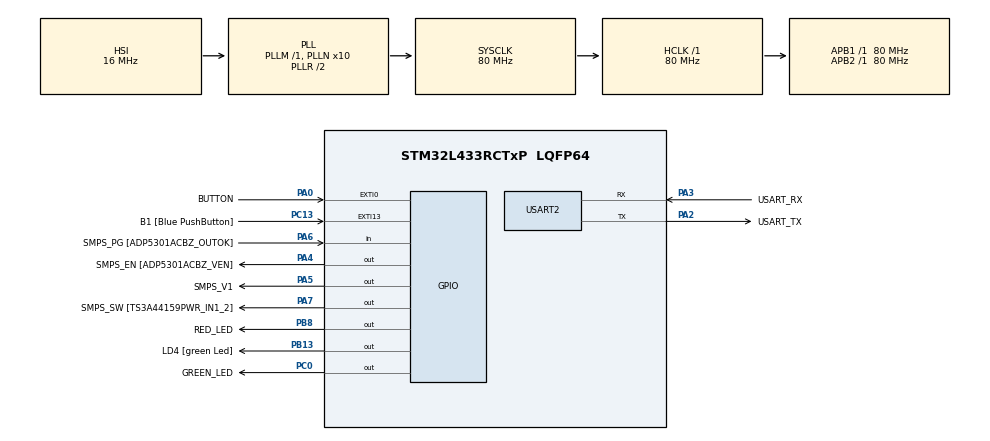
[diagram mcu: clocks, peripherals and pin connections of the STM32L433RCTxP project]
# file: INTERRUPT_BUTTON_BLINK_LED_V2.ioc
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Mcu.Family=STM32L4
Mcu.Name=STM32L433RCTxP
Mcu.Package=LQFP64
NVIC.EXTI0_IRQn=true\:0\:0\:false\:false\:true\:true\:true\:true
NVIC.PriorityGroup=NVIC_PRIORITYGROUP_4
NVIC.TIM6_DAC_IRQn=true\:0\:0\:false\:false\:true\:true\:true\:true
PA0.GPIO_Label=BUTTON
PA0.GPIO_ModeDefaultEXTI=GPIO_MODE_IT_FALLING
PA0.GPIO_PuPd=GPIO_PULLUP
PA0.Signal=GPXTI0
PA13\ (JTMS-SWDIO).GPIO_Label=TMS
PA13\ (JTMS-SWDIO).Mode=Serial_Wire
PA13\ (JTMS-SWDIO).Signal=SYS_JTMS-SWDIO
PA14\ (JTCK-SWCLK).GPIO_Label=TCK
PA14\ (JTCK-SWCLK).Mode=Serial_Wire
PA14\ (JTCK-SWCLK).Signal=SYS_JTCK-SWCLK
PA2.GPIO_Label=USART_TX
PA2.GPIO_Mode=GPIO_MODE_AF_PP
PA2.GPIO_PuPd=GPIO_NOPULL
PA2.GPIO_Speed=GPIO_SPEED_FREQ_VERY_HIGH
PA2.Mode=Asynchronous
PA2.Signal=USART2_TX
PA3.GPIO_Label=USART_RX
PA3.GPIO_Mode=GPIO_MODE_AF_PP
PA3.GPIO_PuPd=GPIO_NOPULL
PA3.GPIO_Speed=GPIO_SPEED_FREQ_VERY_HIGH
PA3.Mode=Asynchronous
PA3.Signal=USART2_RX
PA4.GPIO_Label=SMPS_EN [ADP5301ACBZ_VEN]
PA4.Signal=GPIO_Output
PA5.GPIO_Label=SMPS_V1
PA5.GPIO_ModeDefaultOutputPP=GPIO_MODE_OUTPUT_PP
PA5.GPIO_PuPd=GPIO_NOPULL
PA5.GPIO_Speed=GPIO_SPEED_FREQ_LOW
PA5.Signal=GPIO_Output
PA6.GPIO_Label=SMPS_PG [ADP5301ACBZ_OUTOK]
PA6.GPIO_PuPd=GPIO_PULLUP
PA6.Signal=GPIO_Input
PA7.GPIO_Label=SMPS_SW [TS3A44159PWR_IN1_2]
PA7.Signal=GPIO_Output
PB13.GPIO_Label=LD4 [green Led]
PB13.Signal=GPIO_Output
PB3\ (JTDO-TRACESWO).GPIO_Label=SWO
PB3\ (JTDO-TRACESWO).Signal=SYS_JTDO-SWO
PB8.GPIO_Label=RED_LED
PB8.Signal=GPIO_Output
PC0.GPIO_Label=GREEN_LED
PC0.Signal=GPIO_Output
PC13.GPIO_Label=B1 [Blue PushButton]
PC13.GPIO_ModeDefaultEXTI=GPIO_MODE_IT_FALLING
PC13.GPIO_PuPd=GPIO_NOPULL
PC13.Signal=GPXTI13
PC14-OSC32_IN\ (PC14).Mode=LSE-External-Oscillator
PC14-OSC32_IN\ (PC14).Signal=RCC_OSC32_IN
PC15-OSC32_OUT\ (PC15).Mode=LSE-External-Oscillator
PC15-OSC32_OUT\ (PC15).Signal=RCC_OSC32_OUT
PH0-OSC_IN\ (PH0).GPIO_Label=MCO
PH0-OSC_IN\ (PH0).Mode=HSE-External-Clock-Source
PH0-OSC_IN\ (PH0).Signal=RCC_OSC_IN
PH1-OSC_OUT\ (PH1).Signal=RCC_OSC_OUT
ProjectManager.HeapSize=0x200
ProjectManager.StackSize=0x400
ProjectManager.TargetToolchain=EWARM V8.32
RCC.ADCFreq_Value=64000000
RCC.AHBFreq_Value=80000000
RCC.APB1Freq_Value=80000000
RCC.APB1TimFreq_Value=80000000
RCC.APB2Freq_Value=80000000
RCC.APB2TimFreq_Value=80000000
RCC.CortexFreq_Value=80000000
RCC.HCLKFreq_Value=80000000
RCC.HSE_VALUE=8000000
RCC.HSI48_VALUE=48000000
RCC.HSI_VALUE=16000000
RCC.MSI_VALUE=4000000
RCC.PLLN=10
RCC.PLLSourceVirtual=RCC_PLLSOURCE_HSI
RCC.PREFETCH_ENABLE=1
RCC.SYSCLKFreq_VALUE=80000000
RCC.SYSCLKSource=RCC_SYSCLKSOURCE_PLLCLK
RCC.USBFreq_Value=64000000
RCC.VCOOutputFreq_Value=160000000
TIM6.Period=10000 - 1
TIM6.Prescaler=8000 - 1
TIM6.TIM_MasterOutputTrigger=TIM_TRGO_UPDATE
USART2.VirtualMode-Asynchronous=VM_ASYNC
VP_TIM6_VS_ClockSourceINT.Mode=Enable_Timer
board=NUCLEO-L433RC-P

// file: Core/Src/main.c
/* USER CODE BEGIN Header */
/**
  ******************************************************************************
  * @file           : main.c
  * @brief          : Main program body
  ******************************************************************************
  * @attention
  *
  * Copyright (c) 2023 STMicroelectronics.
  * All rights reserved.
  *
  * This software is licensed under terms that can be found in the LICENSE file
  * in the root directory of this software component.
  * If no LICENSE file comes with this software, it is provided AS-IS.
  *
  ******************************************************************************
  */
/* USER CODE END Header */
#include "main.h"

/* USER CODE BEGIN Includes */

#include "led_controls.h"

/* USER CODE END Includes */

TIM_HandleTypeDef htim6;

UART_HandleTypeDef huart2;

/* USER CODE BEGIN PV */

//We always start from idling at off state
volatile PROGRAM_STATE CurState = IDLE_OFF;

/* USER CODE END PV */

void SystemClock_Config(void);
static void MX_GPIO_Init(void);
static void MX_USART2_UART_Init(void);
static void MX_TIM6_Init(void);

int main(void)
{

  /* MCU Configuration--------------------------------------------------------*/

  /* Reset of all peripherals, Initializes the Flash interface and the Systick. */
  HAL_Init();

  /* Configure the system clock */
  SystemClock_Config();

  /* Initialize all configured peripherals */
  MX_GPIO_Init();
  MX_USART2_UART_Init();
  MX_TIM6_Init();

  /* Infinite loop */
  /* USER CODE BEGIN WHILE */
  while (1)
  {
    if (CurState == IDLE_ON || CurState == IDLE_OFF)    //We are idling. Nothing to do
      continue;
    /*
      We are disabling interrupts as they might cause problems later
    */
    HAL_NVIC_DisableIRQ(EXTI0_IRQn);    //Disables button interrupt
    HAL_NVIC_DisableIRQ(TIM6_DAC_IRQn); //Disables timer interrupt
    if (CurState == ON || CurState == OFF)
    {
      led_reinit(CurState);
      StartStopTimer(CurState, &htim6);
      if (CurState == ON)       //Blinking is on. We now idle until state changes
        CurState = IDLE_ON;
      else
        CurState = IDLE_OFF;    //Blinking is off. We now idle until state changes
    }
    else if (CurState == TOGGLE)
    {
      toggle_led();
      CurState = IDLE_ON;       //Toggled. We now idle until state changes
    }
    HAL_NVIC_EnableIRQ(EXTI0_IRQn);     //Enables button interrupt
    HAL_NVIC_EnableIRQ(TIM6_DAC_IRQn);  //Enables timer interrupt
    /* USER CODE END WHILE */

  }
}

void SystemClock_Config(void)
{
  RCC_OscInitTypeDef RCC_OscInitStruct = {0};
  RCC_ClkInitTypeDef RCC_ClkInitStruct = {0};

  /** Configure the main internal regulator output voltage
  */
  if (HAL_PWREx_ControlVoltageScaling(PWR_REGULATOR_VOLTAGE_SCALE1) != HAL_OK)
  {
    Error_Handler();
  }

  /** Initializes the RCC Oscillators according to the specified parameters
  * in the RCC_OscInitTypeDef structure.
  */
  RCC_OscInitStruct.OscillatorType = RCC_OSCILLATORTYPE_HSI;
  RCC_OscInitStruct.HSIState = RCC_HSI_ON;
  RCC_OscInitStruct.HSICalibrationValue = RCC_HSICALIBRATION_DEFAULT;
  RCC_OscInitStruct.PLL.PLLState = RCC_PLL_ON;
  RCC_OscInitStruct.PLL.PLLSource = RCC_PLLSOURCE_HSI;
  RCC_OscInitStruct.PLL.PLLM = 1;
  RCC_OscInitStruct.PLL.PLLN = 10;
  RCC_OscInitStruct.PLL.PLLP = RCC_PLLP_DIV7;
  RCC_OscInitStruct.PLL.PLLQ = RCC_PLLQ_DIV2;
  RCC_OscInitStruct.PLL.PLLR = RCC_PLLR_DIV2;
  if (HAL_RCC_OscConfig(&RCC_OscInitStruct) != HAL_OK)
  {
    Error_Handler();
  }

  /** Initializes the CPU, AHB and APB buses clocks
  */
  RCC_ClkInitStruct.ClockType = RCC_CLOCKTYPE_HCLK|RCC_CLOCKTYPE_SYSCLK
                              |RCC_CLOCKTYPE_PCLK1|RCC_CLOCKTYPE_PCLK2;
  RCC_ClkInitStruct.SYSCLKSource = RCC_SYSCLKSOURCE_PLLCLK;
  RCC_ClkInitStruct.AHBCLKDivider = RCC_SYSCLK_DIV1;
  RCC_ClkInitStruct.APB1CLKDivider = RCC_HCLK_DIV1;
  RCC_ClkInitStruct.APB2CLKDivider = RCC_HCLK_DIV1;

  if (HAL_RCC_ClockConfig(&RCC_ClkInitStruct, FLASH_LATENCY_4) != HAL_OK)
  {
    Error_Handler();
  }
}

static void MX_TIM6_Init(void)
{

  TIM_MasterConfigTypeDef sMasterConfig = {0};

  htim6.Instance = TIM6;
  htim6.Init.Prescaler = 8000 - 1;
  htim6.Init.CounterMode = TIM_COUNTERMODE_UP;
  htim6.Init.Period = 10000 - 1;
  htim6.Init.AutoReloadPreload = TIM_AUTORELOAD_PRELOAD_DISABLE;
  if (HAL_TIM_Base_Init(&htim6) != HAL_OK)
  {
    Error_Handler();
  }
  sMasterConfig.MasterOutputTrigger = TIM_TRGO_UPDATE;
  sMasterConfig.MasterSlaveMode = TIM_MASTERSLAVEMODE_DISABLE;
  if (HAL_TIMEx_MasterConfigSynchronization(&htim6, &sMasterConfig) != HAL_OK)
  {
    Error_Handler();
  }

}

static void MX_USART2_UART_Init(void)
{

  huart2.Instance = USART2;
  huart2.Init.BaudRate = 115200;
  huart2.Init.WordLength = UART_WORDLENGTH_8B;
  huart2.Init.StopBits = UART_STOPBITS_1;
  huart2.Init.Parity = UART_PARITY_NONE;
  huart2.Init.Mode = UART_MODE_TX_RX;
  huart2.Init.HwFlowCtl = UART_HWCONTROL_NONE;
  huart2.Init.OverSampling = UART_OVERSAMPLING_16;
  huart2.Init.OneBitSampling = UART_ONE_BIT_SAMPLE_DISABLE;
  huart2.AdvancedInit.AdvFeatureInit = UART_ADVFEATURE_NO_INIT;
  if (HAL_UART_Init(&huart2) != HAL_OK)
  {
    Error_Handler();
  }

}

static void MX_GPIO_Init(void)
{
  GPIO_InitTypeDef GPIO_InitStruct = {0};

  /* GPIO Ports Clock Enable */
  __HAL_RCC_GPIOC_CLK_ENABLE();
  __HAL_RCC_GPIOH_CLK_ENABLE();
  __HAL_RCC_GPIOA_CLK_ENABLE();
  __HAL_RCC_GPIOB_CLK_ENABLE();

  /*Configure GPIO pin Output Level */
  HAL_GPIO_WritePin(GREEN_LED_GPIO_Port, GREEN_LED_Pin, GPIO_PIN_RESET);

  /*Configure GPIO pin Output Level */
  HAL_GPIO_WritePin(GPIOA, SMPS_EN_Pin|SMPS_V1_Pin|SMPS_SW_Pin, GPIO_PIN_RESET);

  /*Configure GPIO pin Output Level */
  HAL_GPIO_WritePin(GPIOB, LD4_Pin|RED_LED_Pin, GPIO_PIN_RESET);

  /*Configure GPIO pin : B1_Pin */
  GPIO_InitStruct.Pin = B1_Pin;
  GPIO_InitStruct.Mode = GPIO_MODE_IT_FALLING;
  GPIO_InitStruct.Pull = GPIO_NOPULL;
  HAL_GPIO_Init(B1_GPIO_Port, &GPIO_InitStruct);

  /*Configure GPIO pin : GREEN_LED_Pin */
  GPIO_InitStruct.Pin = GREEN_LED_Pin;
  GPIO_InitStruct.Mode = GPIO_MODE_OUTPUT_PP;
  GPIO_InitStruct.Pull = GPIO_NOPULL;
  GPIO_InitStruct.Speed = GPIO_SPEED_FREQ_LOW;
  HAL_GPIO_Init(GREEN_LED_GPIO_Port, &GPIO_InitStruct);

  /*Configure GPIO pin : BUTTON_Pin */
  GPIO_InitStruct.Pin = BUTTON_Pin;
  GPIO_InitStruct.Mode = GPIO_MODE_IT_FALLING;
  GPIO_InitStruct.Pull = GPIO_PULLUP;
  HAL_GPIO_Init(BUTTON_GPIO_Port, &GPIO_InitStruct);

  /*Configure GPIO pins : SMPS_EN_Pin SMPS_V1_Pin SMPS_SW_Pin */
  GPIO_InitStruct.Pin = SMPS_EN_Pin|SMPS_V1_Pin|SMPS_SW_Pin;
  GPIO_InitStruct.Mode = GPIO_MODE_OUTPUT_PP;
  GPIO_InitStruct.Pull = GPIO_NOPULL;
  GPIO_InitStruct.Speed = GPIO_SPEED_FREQ_LOW;
  HAL_GPIO_Init(GPIOA, &GPIO_InitStruct);

  /*Configure GPIO pin : SMPS_PG_Pin */
  GPIO_InitStruct.Pin = SMPS_PG_Pin;
  GPIO_InitStruct.Mode = GPIO_MODE_INPUT;
  GPIO_InitStruct.Pull = GPIO_PULLUP;
  HAL_GPIO_Init(SMPS_PG_GPIO_Port, &GPIO_InitStruct);

  /*Configure GPIO pins : LD4_Pin RED_LED_Pin */
  GPIO_InitStruct.Pin = LD4_Pin|RED_LED_Pin;
  GPIO_InitStruct.Mode = GPIO_MODE_OUTPUT_PP;
  GPIO_InitStruct.Pull = GPIO_NOPULL;
  GPIO_InitStruct.Speed = GPIO_SPEED_FREQ_LOW;
  HAL_GPIO_Init(GPIOB, &GPIO_InitStruct);

  /* EXTI interrupt init*/
  HAL_NVIC_SetPriority(EXTI0_IRQn, 0, 0);
  HAL_NVIC_EnableIRQ(EXTI0_IRQn);

}

void Error_Handler(void)
{
  __disable_irq();
  while (1)
  {
  }
}
